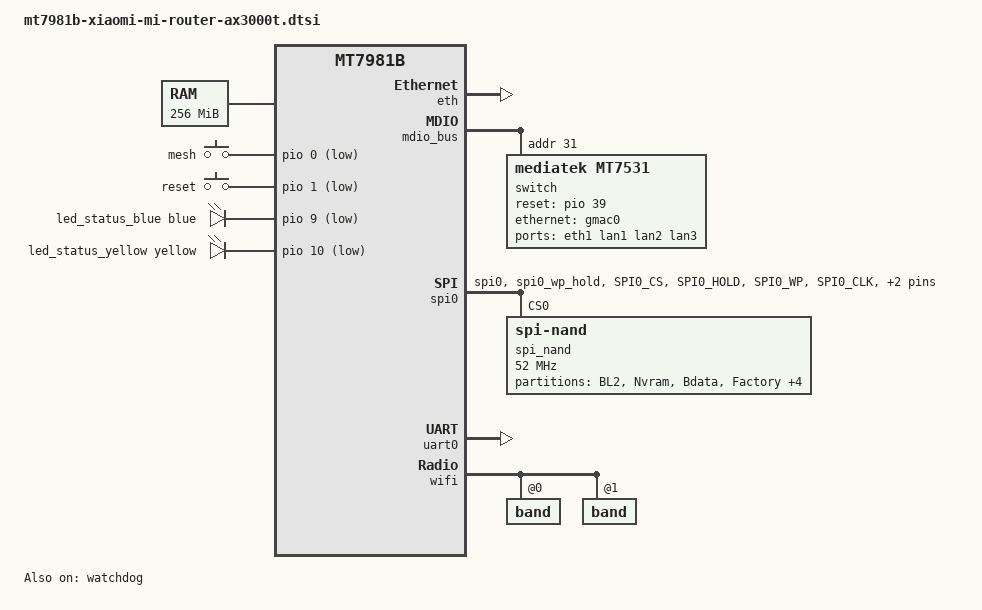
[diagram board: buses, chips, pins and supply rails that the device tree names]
// SPDX-License-Identifier: GPL-2.0-or-later OR MIT

/dts-v1/;

#include <dt-bindings/input/input.h>
#include <dt-bindings/gpio/gpio.h>

#include "mt7981b.dtsi"

/ {
	aliases {
		serial0 = &uart0;
		led-boot = &led_status_yellow;
		led-failsafe = &led_status_yellow;
		led-running = &led_status_blue;
		led-upgrade = &led_status_yellow;
	};

	chosen {
		stdout-path = "serial0:115200n8";
	};

	memory@40000000 {
		reg = <0 0x40000000 0 0x10000000>;
		device_type = "memory";
	};

	gpio-keys {
		compatible = "gpio-keys";

		button-mesh {
			label = "mesh";
			gpios = <&pio 0 GPIO_ACTIVE_LOW>;
			linux,code = <BTN_9>;
			linux,input-type = <EV_SW>;
		};

		button-reset {
			label = "reset";
			gpios = <&pio 1 GPIO_ACTIVE_LOW>;
			linux,code = <KEY_RESTART>;
		};
	};

	leds {
		compatible = "gpio-leds";

		led_status_blue: led-status-blue {
			color = <LED_COLOR_ID_BLUE>;
			function = LED_FUNCTION_STATUS;
			gpios = <&pio 9 GPIO_ACTIVE_LOW>;
		};

		led_status_yellow: led-status-yellow {
			color = <LED_COLOR_ID_YELLOW>;
			function = LED_FUNCTION_STATUS;
			gpios = <&pio 10 GPIO_ACTIVE_LOW>;
		};
	};
};

&eth {
	status = "okay";

	gmac0: mac@0 {
		compatible = "mediatek,eth-mac";
		reg = <0>;
		phy-mode = "2500base-x";
		nvmem-cells = <&macaddr_factory_4 0>;
		nvmem-cell-names = "mac-address";

		fixed-link {
			speed = <2500>;
			full-duplex;
			pause;
		};
	};

	gmac1: mac@1 {
		compatible = "mediatek,eth-mac";
		reg = <1>;
		phy-mode = "gmii";
		phy-handle = <&int_gbe_phy>;
		nvmem-cells = <&macaddr_factory_4 1>;
		nvmem-cell-names = "mac-address";
	};
};

&mdio_bus {
	switch: switch@1f {
		compatible = "mediatek,mt7531";
		reg = <31>;
		reset-gpios = <&pio 39 GPIO_ACTIVE_HIGH>;
	};
};

&switch {
	ports {
		#address-cells = <1>;
		#size-cells = <0>;

		port@0 {
			reg = <0>;
			label = "eth1";
		};

		port@1 {
			reg = <1>;
			label = "lan1";
		};

		port@2 {
			reg = <2>;
			label = "lan2";
		};

		port@3 {
			reg = <3>;
			label = "lan3";
		};

		port@6 {
			reg = <6>;
			ethernet = <&gmac0>;
			phy-mode = "2500base-x";

			fixed-link {
				speed = <2500>;
				full-duplex;
				pause;
			};
		};
	};
};

&i2c0 {
    status = "disabled";

	pinctrl-names = "default";
	pinctrl-0 = <&i2c_pins>;
	
	nfc@57 {
		compatible = "nt082c";
		reg = <0x57>;
	};
};

&pio {
	i2c_pins: i2c-pins {
		mux {
			function = "i2c";
			groups = "i2c0_1";
		};
	};
};

&spi0 {
	pinctrl-names = "default";
	pinctrl-0 = <&spi0_flash_pins>;
	status = "okay";

	spi_nand: flash@0 {
		compatible = "spi-nand";
		reg = <0>;

		spi-max-frequency = <52000000>;
		spi-tx-bus-width = <4>;
		spi-rx-bus-width = <4>;

		partitions: partitions {
			compatible = "fixed-partitions";
			#address-cells = <1>;
			#size-cells = <1>;

			partition@0 {
				label = "BL2";
				reg = <0x00 0x100000>;
				read-only;
			};

			partition@100000 {
				label = "Nvram";
				reg = <0x100000 0x40000>;
				read-only;
			};

			partition@140000 {
				label = "Bdata";
				reg = <0x140000 0x40000>;
				read-only;
			};

			factory: partition@180000 {
				label = "Factory";
				reg = <0x180000 0x200000>;
				read-only;

				nvmem-layout {
					compatible = "fixed-layout";
					#address-cells = <1>;
					#size-cells = <1>;

					eeprom_factory_0: eeprom@0 {
						reg = <0x0 0x1000>;
					};

					macaddr_factory_4: macaddr@4 {
						compatible = "mac-base";
						reg = <0x4 0x6>;
						#nvmem-cell-cells = <1>;
					};
				};
			};

			partition@380000 {
				label = "FIP";
				reg = <0x380000 0x200000>;
				read-only;
			};

			partition@580000 {
				label = "crash";
				reg = <0x580000 0x40000>;
				read-only;
			};

			partition@5c0000 {
				label = "crash_log";
				reg = <0x5c0000 0x40000>;
				read-only;
			};

			partition@7600000 {
				label = "KF";
				reg = <0x7600000 0x40000>;
				read-only;
			};
		};
	};
};

&pio {
	spi0_flash_pins: spi0-pins {
		mux {
			function = "spi";
			groups = "spi0", "spi0_wp_hold";
		};

		conf-pu {
			pins = "SPI0_CS", "SPI0_HOLD", "SPI0_WP";
			drive-strength = <MTK_DRIVE_8mA>;
			bias-pull-up = <MTK_PUPD_SET_R1R0_11>;
		};

		conf-pd {
			pins = "SPI0_CLK", "SPI0_MOSI", "SPI0_MISO";
			drive-strength = <MTK_DRIVE_8mA>;
			bias-pull-down = <MTK_PUPD_SET_R1R0_11>;
		};
	};
};

&uart0 {
	status = "okay";
};

&watchdog {
	status = "okay";
};

&wifi {
	status = "okay";
	nvmem-cells = <&eeprom_factory_0>;
	nvmem-cell-names = "eeprom";

	band@0 {
		reg = <0>;
		nvmem-cells = <&macaddr_factory_4 2>;
		nvmem-cell-names = "mac-address";
	};

	band@1 {
		reg = <1>;
		nvmem-cells = <&macaddr_factory_4 3>;
		nvmem-cell-names = "mac-address";
	};
};
